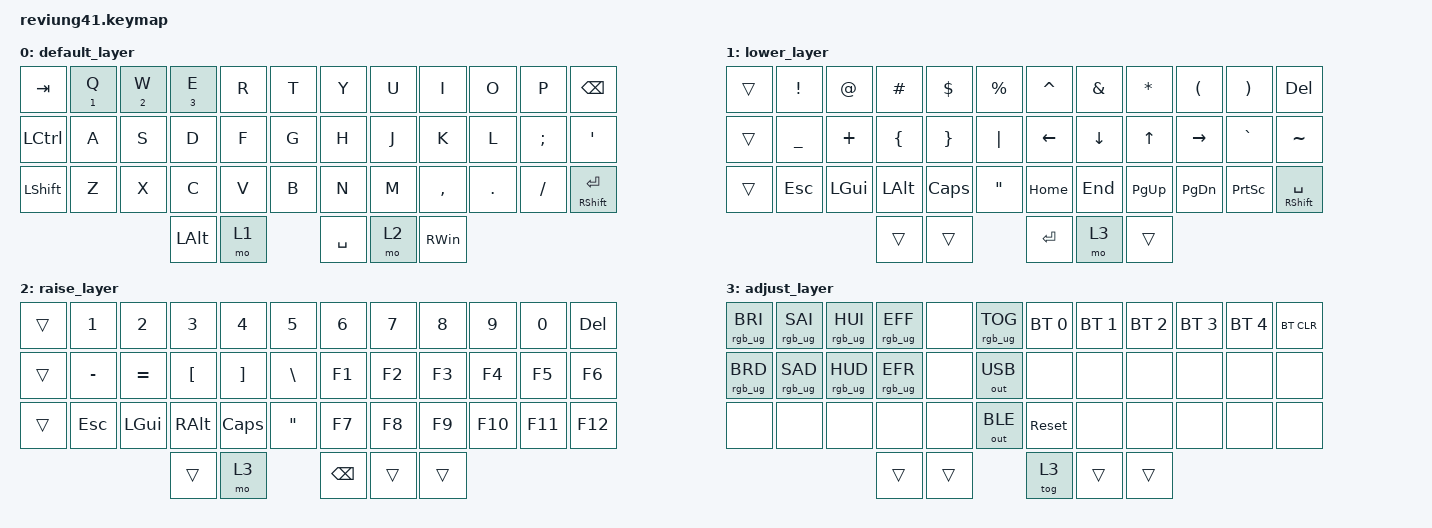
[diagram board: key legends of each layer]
/*
 * Copyright (c) 2020 The ZMK Contributors
 *
 * SPDX-License-Identifier: MIT
 */

#include <behaviors.dtsi>
#include <dt-bindings/zmk/bt.h>
#include <dt-bindings/zmk/keys.h>
#include <dt-bindings/zmk/outputs.h>
#include <dt-bindings/zmk/rgb.h>

&mt {
    tapping-term-ms = <400>;
    flavor = "tap-preferred";
    quick-tap-ms = <200>;
    global-quick-tap;
};
/ {
    combos {
        compatible = "zmk,combos";

        enter_combo {
            bindings = <&kp ENTER>;
            key-positions = <16 19>;
        };

        open_vdi {
            bindings = <&kp LC(LA(DELETE))>;
            key-positions = <39 37>;
        };
    };

    keymap {
        compatible = "zmk,keymap";

        default_layer {
            // -------------------------------------------------------------------------------------
            // |  TAB |  Q  |  W  |  E  |  R  |  T  |   |  Y  |  U   |  I  |  O  |  P  |   BKSP    |
            // | SHFT |  A  |  S  |  D  |  F  |  G  |   |  H  |  J   |  K  |  L  |  ;  |    '      |
            // | CTRL |  Z  |  X  |  C  |  V  |  B  |   |  N  |  M   |  ,  |  .  |  /  | SHFT(RET) |
            //                         | ALT | LWR | SPC | RSE  | ALT |

            bindings = <
&kp TAB           &mt NUMBER_1 Q  &mt NUMBER_2 W  &mt NUMBER_3 E  &kp R  &kp T             &kp Y  &kp U  &kp I          &kp O    &kp P     &kp BSPC
&kp LEFT_CONTROL  &kp A           &kp S           &kp D               &kp F  &kp G             &kp H  &kp J  &kp K          &kp L    &kp SEMI  &kp SQT
&kp LEFT_SHIFT    &kp Z           &kp X           &kp C               &kp V  &kp B             &kp N  &kp M  &kp COMMA      &kp DOT  &kp FSLH  &mt RSHFT RET
                                                  &kp LEFT_ALT        &mo 1         &kp SPACE         &mo 2  &kp RIGHT_WIN
            >;
        };

        lower_layer {
            // ------------------------------------------------------------------------------------
            // |    |  !  |  @  |  #  |  $  |  %  |   |  ^  |  &  |  *  |  (  |  )  |      DEL    |
            // |    |  _  |  +  |  {  |  }  | "|" |   | LFT | DWN |  UP | RGT |  `  |       ~     |
            // |    | ESC | GUI | ALT | CAPS|  "  |   | HOME| END | PGUP| PGDN| PRSC| SHFT(SPACE) |
            //                       |     |     | RET | ADJ |     |

            bindings = <
&trans  &kp EXCL   &kp AT    &kp HASH  &kp DLLR  &kp PRCNT           &kp CARET  &kp AMPS  &kp ASTRK  &kp LPAR   &kp RPAR   &kp DEL
&trans  &kp UNDER  &kp PLUS  &kp LBRC  &kp RBRC  &kp PIPE            &kp LEFT   &kp DOWN  &kp UP     &kp RIGHT  &kp GRAVE  &kp TILDE
&trans  &kp ESC    &kp LGUI  &kp LALT  &kp CLCK  &kp DQT             &kp HOME   &kp END   &kp PG_UP  &kp PG_DN  &kp PSCRN  &mt RSHFT SPACE
                             &trans    &trans               &kp RET             &mo 3     &trans
            >;
        };

        raise_layer {
            // ----------------------------------------------------------------------------
            // |    |  1  |  2  |  3  |  4  |  5  |   |  6  |  7  |  8  |  9  |  0  | DEL |
            // |    |  -  |  =  |  [  |  ]  |  \  |   | F1  | F2  | F3  | F4  | F5  | F6  |
            // |    | ESC | GUI | ALT | CAPS|  "  |   | F7  | F8  | F9  | F10 | F11 | F12 |
            //                       |     | ADJ | BKSP |    |     |

            bindings = <
&trans  &kp N1     &kp N2     &kp N3    &kp N4    &kp N5              &kp N6  &kp N7  &kp N8  &kp N9   &kp N0   &kp DEL
&trans  &kp MINUS  &kp EQUAL  &kp LBKT  &kp RBKT  &kp BSLH            &kp F1  &kp F2  &kp F3  &kp F4   &kp F5   &kp F6
&trans  &kp ESC    &kp LGUI   &kp RALT  &kp CLCK  &kp DQT             &kp F7  &kp F8  &kp F9  &kp F10  &kp F11  &kp F12
                              &trans    &mo 3               &kp BSPC          &trans  &trans
            >;
        };

        adjust_layer {
            // -----------------------------------------------------------------------------------------
            // | RGB BRI+ | RGB SAT+ | RGB HUE+ | RGB ANI+ |    | RGB TOG |   |  BT1  | BT2 | BT3 | BT4 | BT5 | BT CLR |
            // | RGB BRI- | RGB SAT- | RGB HUE- | RGB ANI- |    |         |   |       |     |     |     |     |        |
            // |          |          |          |          |    |         |   | RESET |     |     |     |     |        |
            //                                              |     |     |     |     |     |

            bindings = <
&rgb_ug RGB_BRI  &rgb_ug RGB_SAI  &rgb_ug RGB_HUI  &rgb_ug RGB_EFF  &none   &rgb_ug RGB_TOG          &bt BT_SEL 0  &bt BT_SEL 1  &bt BT_SEL 2  &bt BT_SEL 3  &bt BT_SEL 4  &bt BT_CLR
&rgb_ug RGB_BRD  &rgb_ug RGB_SAD  &rgb_ug RGB_HUD  &rgb_ug RGB_EFR  &none   &out OUT_USB             &none         &none         &none         &none         &none         &none
&none            &none            &none            &none            &none   &out OUT_BLE             &sys_reset    &none         &none         &none         &none         &none
                                                   &trans           &trans                   &tog 3                &trans        &trans
            >;
        };
    };
};
